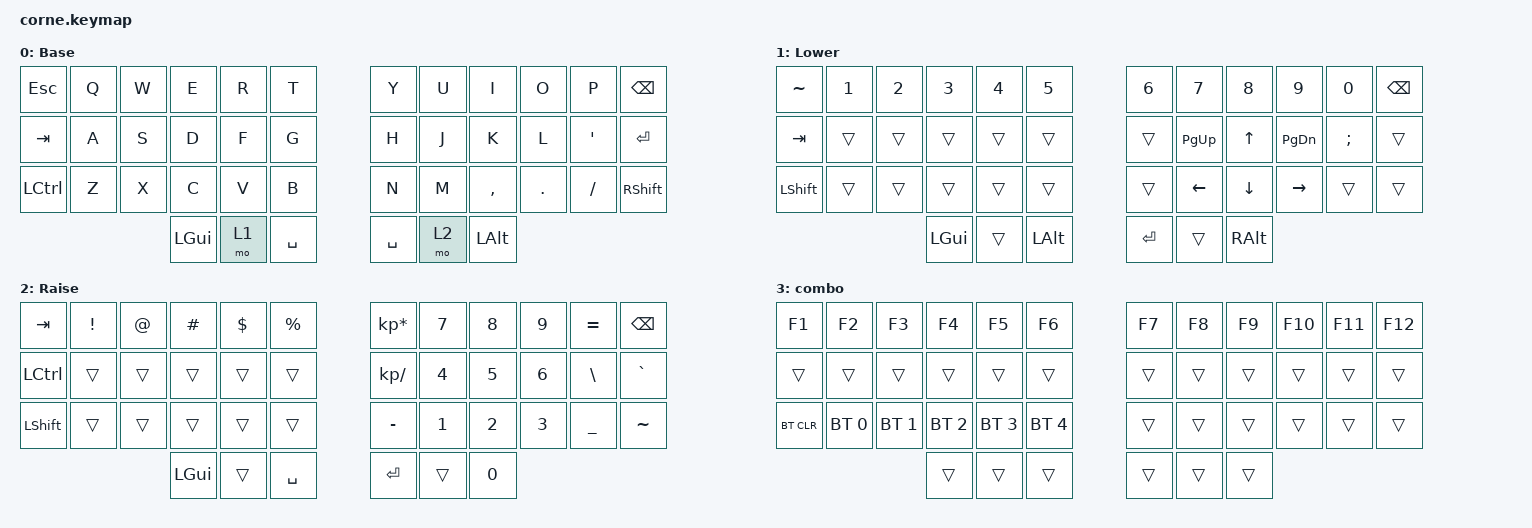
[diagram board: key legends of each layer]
/*
 * Copyright (c) 2020 The ZMK Contributors
 *
 * SPDX-License-Identifier: MIT
 */

#include <behaviors.dtsi>
#include <dt-bindings/zmk/bt.h>
#include <dt-bindings/zmk/keys.h>

/ {
    keymap {
        compatible = "zmk,keymap";

        default_layer {
            // -----------------------------------------------------------------------------------------
            // |  TAB |  Q  |  W  |  E  |  R  |  T  |   |  Y  |  U   |  I  |  O  |  P  | BKSP |
            // | CTRL |  A  |  S  |  D  |  F  |  G  |   |  H  |  J   |  K  |  L  |  ;  |  '   |
            // | SHFT |  Z  |  X  |  C  |  V  |  B  |   |  N  |  M   |  ,  |  .  |  /  | ESC  |
            //                    | GUI | LWR | SPC |   | ENT | RSE  | ALT |

            display-name = "Base";
            bindings = <
&kp ESCAPE        &kp Q  &kp W  &kp E     &kp R  &kp T        &kp Y      &kp U  &kp I         &kp O    &kp P           &kp BSPC
&kp TAB           &kp A  &kp S  &kp D     &kp F  &kp G        &kp H      &kp J  &kp K         &kp L    &kp APOSTROPHE  &kp ENTER
&kp LEFT_CONTROL  &kp Z  &kp X  &kp C     &kp V  &kp B        &kp N      &kp M  &kp COMMA     &kp DOT  &kp FSLH        &kp RIGHT_SHIFT
                                &kp LGUI  &mo 1  &kp SPACE    &kp SPACE  &mo 2  &kp LEFT_ALT
            >;
        };

        lower_layer {
            // -----------------------------------------------------------------------------------------
            // |  TAB |  1  |  2  |  3  |  4  |  5  |   |  6  |  7  |  8  |  9  |  0  | BKSP |
            // | BTCLR| BT1 | BT2 | BT3 | BT4 | BT5 |   | LFT | DWN |  UP | RGT |     |      |
            // | SHFT |     |     |     |     |     |   |     |     |     |     |     |      |
            //                    | GUI |     | SPC |   | ENT |     | ALT |

            display-name = "Lower";
            bindings = <
&kp TILDE  &kp N1  &kp N2  &kp N3    &kp N4  &kp N5          &kp N6   &kp NUMBER_7    &kp NUMBER_8    &kp NUMBER_9     &kp N0         &kp BACKSPACE
&kp TAB    &trans  &trans  &trans    &trans  &trans          &trans   &kp PAGE_UP     &kp UP          &kp PAGE_DOWN    &kp SEMICOLON  &trans
&kp LSHFT  &trans  &trans  &trans    &trans  &trans          &trans   &kp LEFT_ARROW  &kp DOWN_ARROW  &kp RIGHT_ARROW  &trans         &trans
                           &kp LGUI  &trans  &kp LEFT_ALT    &kp RET  &trans          &kp RALT
            >;
        };

        raise_layer {
            // -----------------------------------------------------------------------------------------
            // |  TAB |  !  |  @  |  #  |  $  |  %  |   |  ^  |  &  |  *  |  (  |  )  | BKSP |
            // | CTRL |     |     |     |     |     |   |  -  |  =  |  [  |  ]  |  \  |  `   |
            // | SHFT |     |     |     |     |     |   |  _  |  +  |  {  |  }  | "|" |  ~   |
            //                    | GUI |     | SPC |   | ENT |     | ALT |

            display-name = "Raise";
            bindings = <
&kp TAB    &kp EXCL  &kp AT  &kp HASH  &kp DLLR  &kp PRCNT    &kp KP_ASTERISK  &kp NUMBER_7  &kp NUMBER_8  &kp NUMBER_9  &kp EQUAL  &kp BSPC
&kp LCTRL  &trans    &trans  &trans    &trans    &trans       &kp KP_DIVIDE    &kp NUMBER_4  &kp NUMBER_5  &kp NUMBER_6  &kp BSLH   &kp GRAVE
&kp LSHFT  &trans    &trans  &trans    &trans    &trans       &kp MINUS        &kp NUMBER_1  &kp NUMBER_2  &kp NUMBER_3  &kp UNDER  &kp TILDE
                             &kp LGUI  &trans    &kp SPACE    &kp RET          &trans        &kp NUMBER_0
            >;
        };

        combo {
            bindings = <
&kp F1      &kp F2        &kp F3        &kp F4        &kp F5        &kp F6          &kp F7  &kp F8  &kp F9  &kp F10  &kp F11  &kp F12
&trans      &trans        &trans        &trans        &trans        &trans          &trans  &trans  &trans  &trans   &trans   &trans
&bt BT_CLR  &bt BT_SEL 0  &bt BT_SEL 1  &bt BT_SEL 2  &bt BT_SEL 3  &bt BT_SEL 4    &trans  &trans  &trans  &trans   &trans   &trans
                                        &trans        &trans        &trans          &trans  &trans  &trans
            >;
        };
    };

    conditional_layers {
        compatible = "zmk,conditional-layers";

        combo {
            if-layers = <1 2>;
            then-layer = <3>;
        };
    };
};
